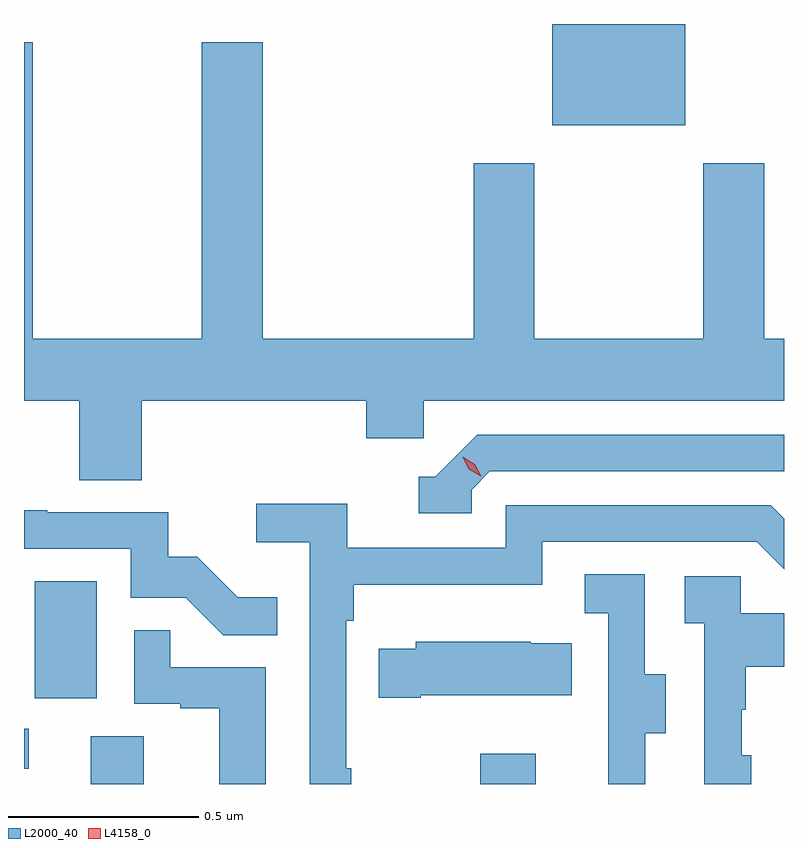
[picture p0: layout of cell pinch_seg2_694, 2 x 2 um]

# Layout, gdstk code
import gdstk
lib = gdstk.Library(unit=1e-6, precision=1e-09)
def R(c, l, rs):  # rectangles x0, y0, x1, y1
    for r in rs: c.add(gdstk.rectangle(r[:2], r[2:], *l))
def P(c, l, *ps):  # polygons
    for p in ps: c.add(gdstk.Polygon(p, *l))
L2000_40 = (2000, 40)
L4158_0 = (4158, 0)

pinch_seg2_694 = lib.new_cell('pinch_seg2_694')
R(pinch_seg2_694, L2000_40, [(1128.725,601.34,1128.865,601.466), (1129.75,601.34,1129.897,601.42), (1128.55,601.38,1128.562,601.485), (1128.578,601.566,1128.742,601.873), (1129.94,603.074,1130.29,603.34)])
P(pinch_seg2_694, L2000_40, [(1128.86,602.348),(1129.451,602.348),(1129.451,602.25),(1129.602,602.25),(1129.602,602.348),(1130.55,602.348),(1130.55,602.512),(1130.498,602.512),(1130.498,602.974),(1130.338,602.974),(1130.338,602.512),(1129.893,602.512),(1129.893,602.974),(1129.733,602.974),(1129.733,602.512),(1129.178,602.512),(1129.178,603.292),(1129.018,603.292),(1129.018,602.512),(1128.573,602.512),(1128.573,603.292),(1128.55,603.292),(1128.55,602.348),(1128.695,602.348),(1128.695,602.14),(1128.86,602.14)],
  [(1129.728,602.115),(1129.776,602.163),(1130.55,602.163),(1130.55,602.259),(1129.743,602.259),(1129.632,602.148),(1129.589,602.148),(1129.589,602.052),(1129.728,602.052)],
  [(1129.411,601.381),(1129.398,601.381),(1129.398,601.769),(1129.418,601.769),(1129.418,601.865),(1129.914,601.865),(1129.914,601.977),(1130.478,601.977),(1130.55,601.905),(1130.55,602.038),(1130.515,602.073),(1129.818,602.073),(1129.818,601.962),(1129.4,601.962),(1129.4,602.078),(1129.161,602.078),(1129.161,601.976),(1129.302,601.976),(1129.302,601.34),(1129.411,601.34)],
  [(1129.217,601.831),(1129.113,601.831),(1129.006,601.938),(1128.93,601.938),(1128.93,602.055),(1128.611,602.055),(1128.611,602.06),(1128.55,602.06),(1128.55,601.959),(1128.831,601.959),(1128.831,601.83),(1128.976,601.83),(1129.074,601.732),(1129.217,601.732)],
  [(1130.185,601.474),(1130.239,601.474),(1130.239,601.629),(1130.184,601.629),(1130.184,601.892),(1130.025,601.892),(1130.025,601.789),(1130.088,601.789),(1130.088,601.485),(1130.087,601.485),(1130.087,601.34),(1130.185,601.34)],
  [(1130.464,601.416),(1130.439,601.416),(1130.439,601.535),(1130.449,601.535),(1130.449,601.649),(1130.55,601.649),(1130.55,601.789),(1130.436,601.789),(1130.436,601.887),(1130.289,601.887),(1130.289,601.763),(1130.34,601.763),(1130.34,601.34),(1130.464,601.34)],
  [(1129.186,601.647),(1128.935,601.647),(1128.935,601.745),(1128.84,601.745),(1128.84,601.551),(1128.961,601.551),(1128.961,601.539),(1129.064,601.539),(1129.064,601.34),(1129.186,601.34)],
  [(1129.594,601.574),(1129.991,601.574),(1129.991,601.711),(1129.883,601.711),(1129.883,601.714),(1129.581,601.714),(1129.581,601.696),(1129.483,601.696),(1129.483,601.567),(1129.594,601.567)])
P(pinch_seg2_694, L4158_0, [(1129.752,602.15),(1129.721,602.168),(1129.705,602.201),(1129.705,602.201),(1129.705,602.201),(1129.736,602.182),(1129.753,602.15),(1129.753,602.15)])

lib.write_gds('pinch_seg2_694.gds')
